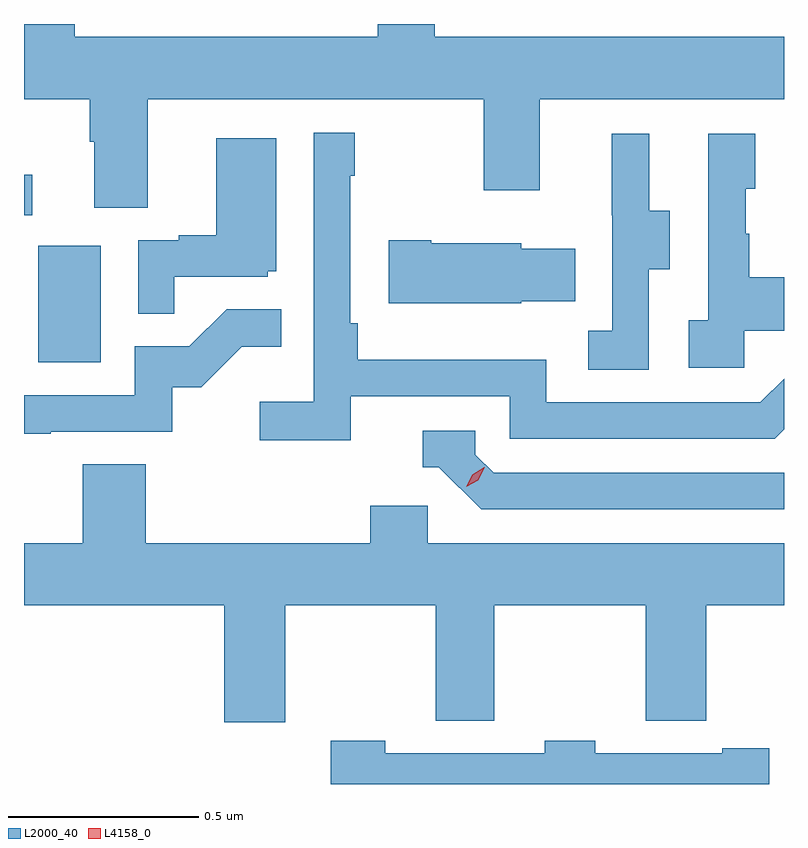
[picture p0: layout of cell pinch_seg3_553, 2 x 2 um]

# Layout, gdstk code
import gdstk
lib = gdstk.Library(unit=1e-6, precision=1e-09)
def R(c, l, rs):  # rectangles x0, y0, x1, y1
    for r in rs: c.add(gdstk.rectangle(r[:2], r[2:], *l))
def P(c, l, *ps):  # polygons
    for p in ps: c.add(gdstk.Polygon(p, *l))
L2000_40 = (2000, 40)
L4158_0 = (4158, 0)

pinch_seg3_553 = lib.new_cell('pinch_seg3_553')
R(pinch_seg3_553, L2000_40, [(1131.686,704.22,1131.85,704.527), (1131.648,704.607,1131.67,704.713)])
P(pinch_seg3_553, L2000_40, [(1131.973,704.912),(1132.858,704.912),(1132.858,704.673),(1133.005,704.673),(1133.005,704.912),(1133.648,704.912),(1133.648,705.076),(1132.729,705.076),(1132.729,705.11),(1132.579,705.11),(1132.579,705.076),(1131.781,705.076),(1131.781,705.11),(1131.648,705.11),(1131.648,704.912),(1131.821,704.912),(1131.821,704.8),(1131.833,704.8),(1131.833,704.626),(1131.973,704.626)],
  [(1132.508,704.13),(1132.926,704.13),(1132.926,704.019),(1133.623,704.019),(1133.648,704.044),(1133.648,704.177),(1133.586,704.115),(1133.022,704.115),(1133.022,704.227),(1132.526,704.227),(1132.526,704.323),(1132.506,704.323),(1132.506,704.711),(1132.519,704.711),(1132.519,704.824),(1132.41,704.824),(1132.41,704.116),(1132.269,704.116),(1132.269,704.014),(1132.508,704.014)],
  [(1133.292,704.464),(1133.347,704.464),(1133.347,704.619),(1133.293,704.619),(1133.293,704.821),(1133.195,704.821),(1133.195,704.607),(1133.196,704.607),(1133.196,704.303),(1133.133,704.303),(1133.133,704.2),(1133.292,704.2)],
  [(1133.544,704.303),(1133.648,704.303),(1133.648,704.443),(1133.557,704.443),(1133.557,704.558),(1133.547,704.558),(1133.547,704.676),(1133.572,704.676),(1133.572,704.821),(1133.448,704.821),(1133.448,704.33),(1133.397,704.33),(1133.397,704.205),(1133.544,704.205)],
  [(1132.043,704.445),(1132.29,704.445),(1132.29,704.46),(1132.312,704.46),(1132.312,704.809),(1132.154,704.809),(1132.154,704.554),(1132.055,704.554),(1132.055,704.541),(1131.948,704.541),(1131.948,704.347),(1132.043,704.347)],
  [(1132.956,704.381),(1133.099,704.381),(1133.099,704.518),(1132.956,704.518),(1132.956,704.533),(1132.72,704.533),(1132.72,704.541),(1132.608,704.541),(1132.608,704.375),(1132.956,704.375)],
  [(1131.719,704.037),(1132.038,704.037),(1132.038,704.154),(1132.114,704.154),(1132.221,704.261),(1132.325,704.261),(1132.325,704.36),(1132.181,704.36),(1132.083,704.262),(1131.939,704.262),(1131.939,704.133),(1131.648,704.133),(1131.648,704.032),(1131.719,704.032)],
  [(1133.648,703.929),(1132.884,703.929),(1132.836,703.977),(1132.836,704.04),(1132.697,704.04),(1132.697,703.944),(1132.74,703.944),(1132.851,703.833),(1133.648,703.833)],
  [(1132.335,703.58),(1132.732,703.58),(1132.732,703.276),(1132.886,703.276),(1132.886,703.58),(1133.284,703.58),(1133.284,703.276),(1133.444,703.276),(1133.444,703.58),(1133.648,703.58),(1133.648,703.744),(1132.71,703.744),(1132.71,703.842),(1132.559,703.842),(1132.559,703.744),(1131.968,703.744),(1131.968,703.952),(1131.803,703.952),(1131.803,703.744),(1131.648,703.744),(1131.648,703.58),(1132.175,703.58),(1132.175,703.272),(1132.335,703.272)],
  [(1133.609,703.204),(1133.486,703.204),(1133.486,703.191),(1133.151,703.191),(1133.151,703.224),(1133.019,703.224),(1133.019,703.191),(1132.599,703.191),(1132.599,703.224),(1132.455,703.224),(1132.455,703.11),(1133.609,703.11)])
P(pinch_seg3_553, L4158_0, [(1132.812,703.892),(1132.812,703.892),(1132.828,703.924),(1132.859,703.943),(1132.86,703.943),(1132.86,703.943),(1132.843,703.91),(1132.812,703.892)])

lib.write_gds('pinch_seg3_553.gds')
